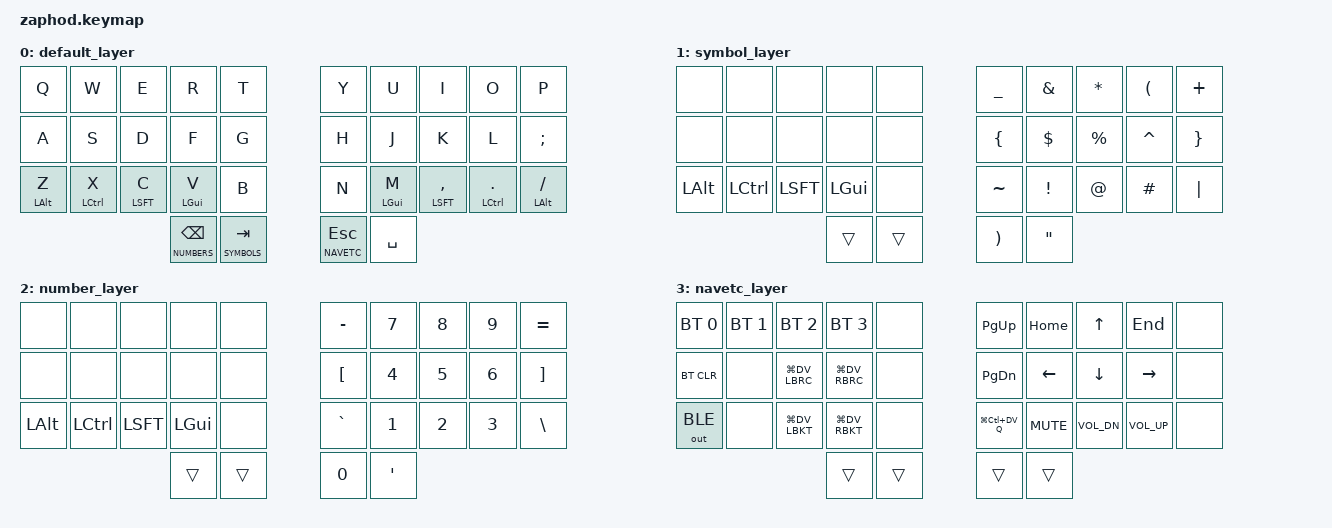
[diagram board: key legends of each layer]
/*
 * Copyright (c) 2020 The ZMK Contributors
 *
 * SPDX-License-Identifier: MIT
 */

#include <behaviors.dtsi>
#include <dt-bindings/zmk/keys.h>
#include <dt-bindings/zmk/bt.h>
#include <dt-bindings/zmk/outputs.h>

#define DV_A A
#define DV_B N
#define DV_C I
#define DV_D H
#define DV_E D
#define DV_F Y
#define DV_G U
#define DV_H J
#define DV_I G
#define DV_J C
#define DV_K V
#define DV_L P
#define DV_M M
#define DV_N L
#define DV_O S
#define DV_P R
#define DV_Q X
#define DV_R O
#define DV_S SEMI
#define DV_T K
#define DV_U F
#define DV_V DOT
#define DV_W COMMA
#define DV_X B
#define DV_Y T
#define DV_Z FSLH
#define DV_SEMI Z
#define DV_SQT Q
#define DV_COMMA W
#define DV_DOT E
#define DV_FSLH LBKT
#define DV_QMARK LBRC
#define DV_MINUS SQT
#define DV_UNDER DQT
#define DV_EQUAL RBKT
#define DV_PLUS RBRC
#define DV_LBKT MINUS
#define DV_RBKT EQUAL
#define DV_LBRC UNDER
#define DV_RBRC PLUS

#define SYMBOLS 1
#define NUMBERS 2
#define NAVETC 3
/ {
        behaviors {
            hm: homerow_mods {
                compatible = "zmk,behavior-hold-tap";
                label = "HOMEROW_MODS";
                #binding-cells = <2>;
                tapping_term_ms = <150>;
                flavor = "tap-preferred";
                bindings = <&kp>, <&kp>;
            };
        };
};

/ {
        combos {
               compatible = "zmk,combos";
               combo_enter {
                           timeout-ms = <50>;
                           key-positions = <6 7 8>;
                           bindings = <&kp ENTER>;
               };
               combo_lpar {
                           timeout-ms = <50>;
                           key-positions = <2 3>;
                           bindings = <&kp LPAR>;
               };
               combo_rpar {
                           timeout-ms = <50>;
                           key-positions = <6 7>;
                           bindings = <&kp RPAR>;
               };
               combo_lbkt {
                           timeout-ms = <50>;
                           key-positions = <1 2>;
                           bindings = <&kp DV_LBKT>;
               };
               combo_rbkt {
                           timeout-ms = <50>;
                           key-positions = <7 8>;
                           bindings = <&kp DV_RBKT>;
               };
               combo_lbrc {
                           timeout-ms = <50>;
                           key-positions = <0 1>;
                           bindings = <&kp DV_LBRC>;
               };
               combo_rbrc {
                           timeout-ms = <50>;
                           key-positions = <8 9>;
                           bindings = <&kp DV_RBRC>;
               };
        };
};

/ {
        keymap {
                compatible = "zmk,keymap";

                default_layer {
// -----------------------------------------------------------------------------
// |  '  |  ,  |  .  |  p     |  y  |   |  f  |  g   |  c  |  r  |  l  |
// |  a  |  o  |  e  |  u     |  i  |   |  d  |  h   |  t  |  n  |  s  |
// |  ;  |  q  |  j  |  k     |  x  |   |  b  |  m   |  w  |  v  |  z  |
//                    | NUM | BSPC SYM |  ENT | RSE  | ALT |
                        bindings = <
   &kp DV_SQT       &kp DV_COMMA  &kp DV_DOT    &kp DV_P      &kp DV_Y   &kp DV_F &kp DV_G      &kp DV_C      &kp DV_R      &kp DV_L
   &kp DV_A         &kp DV_O      &kp DV_E      &kp DV_U      &kp DV_I   &kp DV_D &kp DV_H      &kp DV_T      &kp DV_N      &kp DV_S
   &hm LALT DV_SEMI &hm LCTL DV_Q &hm LSFT DV_J &hm LGUI DV_K &kp DV_X   &kp DV_B &hm LGUI DV_M &hm LSFT DV_W &hm LCTL DV_V &hm LALT DV_Z
                                                &lt NUMBERS BSPC &lt SYMBOLS TAB &lt NAVETC ESC &kp SPACE
                        >;
                };

                symbol_layer {
// -----------------------------------------------------------------------------------------
// | |      |      |       |       |       |   |  {  |  &  |  *  |  (  |  }  | |
// | | LALT | LCTL | LSFT  | LGUI  |       |   |  ?  |  $  |  %  |  ^  |  +  | |
// | |      |      |       |       |       |   |  ~  |  !  |  @  |  #  |  |  | |
//                 | trans | trans | trans |   |  (  |  )  |  _  |

                        bindings = <
   &none    &none    &none    &none    &none   &kp DV_LBRC  &kp AMPS   &kp ASTRK   &kp LPAR  &kp DV_RBRC
   &none    &none    &none    &none    &none   &kp DV_QMARK &kp DOLLAR &kp PERCENT &kp CARET &kp DV_PLUS
   &kp LALT &kp LCTL &kp LSFT &kp LGUI &none   &kp TILDE    &kp EXCL   &kp AT      &kp HASH  &kp PIPE
                                    // FIXME: I can't type LPAR on this layout
                           &trans   &trans     &kp RPAR   &kp DV_UNDER

                        >;
                };

                number_layer {
// -----------------------------------------------------------------------------------------
// | |      |      |       |       |       |   |  [  |  7  |  8  |  9  |  ]  | |
// | | LALT | LCTL | LSFT  | LGUI  |       |   |  /  |  4  |  5  |  6  |  =  | |
// | |      |      |       |       |       |   |  `  |  1  |  2  |  3  |  \  | |
//                 | trans | trans | trans |   |  .  |  0  |  -  |
                        bindings = <
   &none    &none    &none    &none    &none   &kp DV_LBKT &kp N7 &kp N8       &kp N9 &kp DV_RBKT
   &none    &none    &none    &none    &none   &kp DV_FSLH &kp N4 &kp N5       &kp N6 &kp DV_EQUAL
   &kp LALT &kp LCTL &kp LSFT &kp LGUI &none   &kp GRAVE   &kp N1 &kp N2       &kp N3 &kp BSLH
                                    // FIXME: I can't type DV_DOT on this layout
                           &trans   &trans  &kp N0 &kp DV_MINUS
                        >;
                };

                navetc_layer {
// -----------------------------------------------------------------------------------------
// | LGUI(GRAVE) | BT_SEL 0 | BT_SEL 1 | BT_SEL 2      | BT_SEL 3      | BT_CLR |       | PGUP | HOME | UP   | END   | | |
// |             |          |          | LGUI(DV_LBRC) | LGUI(DV_RBRC) |        |       | PGDN | LEFT | DOWN | RIGHT | | |
// |             |          |          | LGUI(DV_LBKT) | LGUI(DV_RBKT) |        |       |      | mute | vold | volu  |
                        bindings = <
   &bt BT_SEL 0 &bt BT_SEL 1 &bt BT_SEL 2    &bt BT_SEL 3    &none          &kp PG_UP     &kp HOME   &kp UP         &kp END      &none
   &bt BT_CLR   &none        &kp LG(DV_LBRC) &kp LG(DV_RBRC) &none          &kp PG_DN     &kp LEFT   &kp DOWN       &kp RIGHT    &none
   &out OUT_BLE &none        &kp LG(DV_LBKT) &kp LG(DV_RBKT) &none          &kp LG(LC(DV_Q)) &kp K_MUTE &kp C_VOL_DN   &kp C_VOL_UP &none
                                           &trans         &trans        &trans     &trans
                        >;

                };
        };
};

&kscan0 {
    debounce-period = <10>;
};
